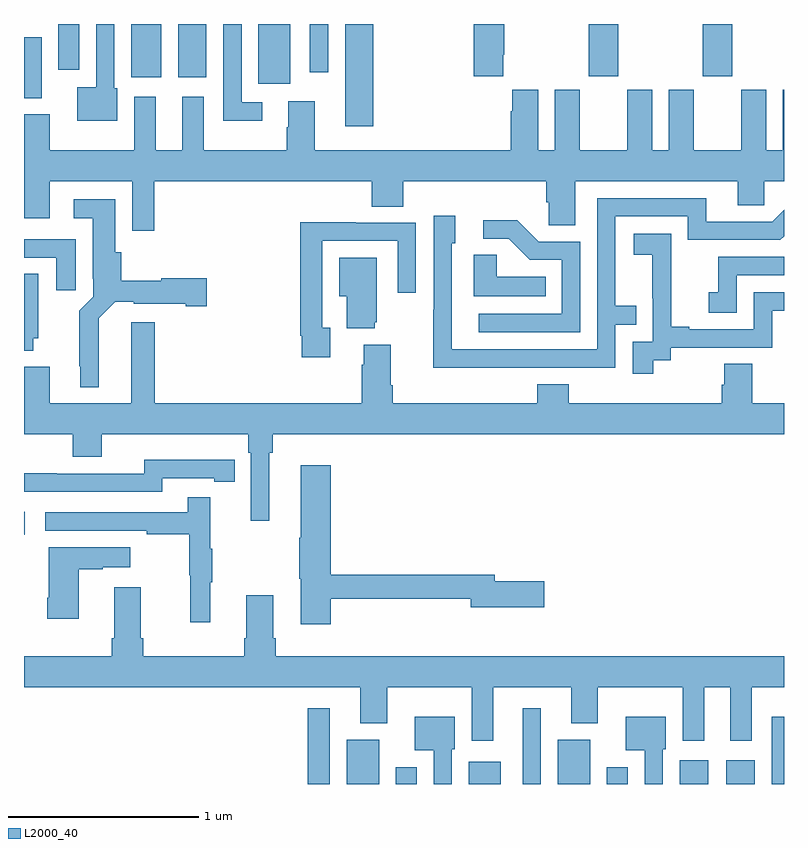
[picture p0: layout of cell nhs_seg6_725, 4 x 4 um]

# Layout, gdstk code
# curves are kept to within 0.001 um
import gdstk
lib = gdstk.Library(unit=1e-6, precision=1e-09)
def R(c, l, rs):  # rectangles x0, y0, x1, y1
    for r in rs: c.add(gdstk.rectangle(r[:2], r[2:], *l))
def P(c, l, *ps):  # polygons
    for p in ps: c.add(gdstk.Polygon(p, *l))
L2000_40 = (2000, 40)

nhs_seg6_725 = lib.new_cell('nhs_seg6_725')
R(nhs_seg6_725, L2000_40, [(158.494,941.5,158.61,941.899), (158.699,941.5,158.869,941.734), (158.957,941.5,159.067,941.587), (159.341,941.5,159.508,941.617), (159.624,941.5,159.72,941.899), (159.809,941.5,159.979,941.734), (160.067,941.5,160.177,941.587), (160.451,941.5,160.6,941.626), (160.697,941.5,160.846,941.626), (160.935,941.5,161,941.854), (157,942.813,157.003,942.934), (158.69,944.961,158.837,945.5), (157,945.11,157.093,945.43), (158.234,945.186,158.401,945.5), (157.565,945.219,157.723,945.5), (157.811,945.219,157.96,945.5), (159.973,945.225,160.128,945.5), (160.573,945.225,160.728,945.5), (158.505,945.246,158.601,945.5), (157.181,945.258,157.291,945.5)])
P(nhs_seg6_725, L2000_40, [(157.492,945.162),(157.476,945.162),(157.476,945.5),(157.38,945.5),(157.38,945.166),(157.28,945.166),(157.28,944.99),(157.492,944.99)],
  [(158.254,945.087),(158.145,945.087),(158.145,945.5),(158.049,945.5),(158.049,944.99),(158.254,944.99)],
  [(159.523,945.337),(159.528,945.337),(159.528,945.5),(159.368,945.5),(159.368,945.225),(159.523,945.225)],
  [(157.685,944.672),(158.831,944.672),(158.831,944.539),(158.996,944.539),(158.996,944.672),(159.749,944.672),(159.749,944.563),(159.762,944.563),(159.762,944.44),(159.901,944.44),(159.901,944.672),(160.757,944.672),(160.757,944.545),(160.896,944.545),(160.896,944.672),(161,944.672),(161,945.154),(160.994,945.154),(160.994,944.836),(160.906,944.836),(160.906,945.154),(160.775,945.154),(160.775,944.836),(160.525,944.836),(160.525,945.154),(160.394,945.154),(160.394,944.836),(160.306,944.836),(160.306,945.154),(160.175,945.154),(160.175,944.836),(159.925,944.836),(159.925,945.154),(159.794,945.154),(159.794,944.836),(159.706,944.836),(159.706,945.154),(159.569,945.154),(159.569,945.041),(159.563,945.041),(159.563,944.836),(158.53,944.836),(158.53,945.094),(158.39,945.094),(158.39,944.957),(158.383,944.957),(158.383,944.836),(157.945,944.836),(157.945,945.118),(157.832,945.118),(157.832,944.836),(157.693,944.836),(157.693,945.118),(157.58,945.118),(157.58,944.836),(157.135,944.836),(157.135,945.025),(157,945.025),(157,944.478),(157.135,944.478),(157.135,944.672),(157.569,944.672),(157.569,944.412),(157.685,944.412)],
  [(159.617,943.692),(160.113,943.692),(160.113,943.917),(160.223,943.917),(160.223,944.018),(160.113,944.018),(160.113,944.487),(160.494,944.487),(160.494,944.364),(160.98,944.364),(161,944.384),(161,944.522),(160.938,944.46),(160.591,944.46),(160.591,944.583),(160.017,944.583),(160.017,943.788),(159.252,943.788),(159.252,944.346),(159.271,944.346),(159.271,944.491),(159.156,944.491),(159.156,943.997),(159.154,943.997),(159.154,943.691)],
  [(157.393,943.952),(157.479,944.039),(157.578,944.039),(157.578,944.027),(157.85,944.027),(157.85,944.015),(157.963,944.015),(157.963,944.162),(157.722,944.162),(157.722,944.149),(157.511,944.149),(157.511,944.298),(157.48,944.298),(157.48,944.578),(157.263,944.578),(157.263,944.477),(157.361,944.477),(157.361,944.158),(157.365,944.158),(157.365,944.064),(157.291,943.99),(157.291,943.699),(157.295,943.699),(157.295,943.589),(157.393,943.589)],
  [(159.927,944.355),(159.708,944.355),(159.595,944.468),(159.417,944.468),(159.417,944.37),(159.551,944.37),(159.662,944.259),(159.831,944.259),(159.831,943.974),(159.393,943.974),(159.393,943.878),(159.927,943.878)],
  [(158.611,943.902),(158.571,943.902),(158.571,944.358),(158.967,944.358),(158.967,944.085),(159.063,944.085),(159.063,944.454),(158.747,944.454),(158.747,944.456),(158.455,944.456),(158.455,943.858),(158.463,943.858),(158.463,943.746),(158.611,943.746)],
  [(160.312,943.729),(160.404,943.729),(160.404,943.797),(160.938,943.797),(160.938,943.992),(161,943.992),(161,944.088),(160.842,944.088),(160.842,943.893),(160.501,943.893),(160.501,943.906),(160.406,943.906),(160.406,944.189),(160.407,944.189),(160.407,944.395),(160.209,944.395),(160.209,944.285),(160.307,944.285),(160.307,944.057),(160.308,944.057),(160.308,943.827),(160.203,943.827),(160.203,943.659),(160.312,943.659)],
  [(157.273,944.367),(157,944.367),(157,944.271),(157.169,944.271),(157.169,944.1),(157.273,944.1)],
  [(159.746,944.17),(159.489,944.17),(159.489,944.285),(159.368,944.285),(159.368,944.066),(159.746,944.066)],
  [(160.752,944.178),(161,944.178),(161,944.274),(160.654,944.274),(160.654,944.089),(160.605,944.089),(160.605,943.98),(160.752,943.98)],
  [(158.846,943.929),(158.857,943.929),(158.857,944.269),(158.66,944.269),(158.66,944.066),(158.699,944.066),(158.699,943.898),(158.846,943.898)],
  [(157.048,943.845),(157.075,943.845),(157.075,944.186),(157,944.186),(157,943.781),(157.048,943.781)],
  [(158.29,943.244),(158.309,943.244),(158.309,943.34),(161,943.34),(161,943.504),(160.833,943.504),(160.833,943.712),(160.685,943.712),(160.685,943.602),(160.673,943.602),(160.673,943.504),(159.866,943.504),(159.866,943.603),(159.701,943.603),(159.701,943.504),(158.942,943.504),(158.942,943.6),(158.929,943.6),(158.929,943.813),(158.789,943.813),(158.789,943.706),(158.777,943.706),(158.777,943.504),(157.688,943.504),(157.688,943.93),(157.565,943.93),(157.565,943.504),(157.135,943.504),(157.135,943.696),(157,943.696),(157,943.34),(157.256,943.34),(157.256,943.223),(157.408,943.223),(157.408,943.34),(158.18,943.34),(158.18,943.244),(158.193,943.244),(158.193,942.885),(158.29,942.885)],
  [(157.728,943.11),(158,943.11),(158,943.09),(158.108,943.09),(158.108,943.206),(158,943.206),(158,943.207),(157.632,943.207),(157.632,943.134),(157.172,943.134),(157.172,943.136),(157,943.136),(157,943.038),(157.728,943.038)],
  [(158.615,942.474),(159.35,942.474),(159.35,942.431),(159.739,942.431),(159.739,942.566),(159.478,942.566),(159.478,942.602),(158.615,942.602),(158.615,943.177),(158.456,943.177),(158.456,942.797),(158.449,942.797),(158.449,942.579),(158.456,942.579),(158.456,942.342),(158.615,942.342)],
  [(157.979,942.563),(157.99,942.563),(157.99,942.737),(157.979,942.737),(157.979,943.009),(157.861,943.009),(157.861,942.93),(157.113,942.93),(157.113,942.834),(157.645,942.834),(157.645,942.814),(157.869,942.814),(157.869,942.6),(157.876,942.6),(157.876,942.351),(157.979,942.351)],
  [(157.288,942.631),(157.415,942.631),(157.415,942.641),(157.558,942.641),(157.558,942.745),(157.13,942.745),(157.13,942.481),(157.123,942.481),(157.123,942.369),(157.288,942.369)],
  [(159.469,942.008),(159.881,942.008),(159.881,941.819),(160.021,941.819),(160.021,942.008),(160.466,942.008),(160.466,941.727),(160.579,941.727),(160.579,942.008),(160.718,942.008),(160.718,941.727),(160.831,941.727),(160.831,942.008),(161,942.008),(161,942.172),(158.324,942.172),(158.324,942.268),(158.311,942.268),(158.311,942.493),(158.171,942.493),(158.171,942.268),(158.159,942.268),(158.159,942.172),(157.628,942.172),(157.628,942.268),(157.615,942.268),(157.615,942.535),(157.475,942.535),(157.475,942.268),(157.463,942.268),(157.463,942.172),(157,942.172),(157,942.008),(158.771,942.008),(158.771,941.819),(158.911,941.819),(158.911,942.008),(159.356,942.008),(159.356,941.727),(159.469,941.727)],
  [(159.252,941.682),(159.268,941.682),(159.268,941.854),(159.056,941.854),(159.056,941.678),(159.156,941.678),(159.156,941.5),(159.252,941.5)],
  [(160.362,941.682),(160.378,941.682),(160.378,941.854),(160.166,941.854),(160.166,941.678),(160.266,941.678),(160.266,941.5),(160.362,941.5)])

lib.write_gds('nhs_seg6_725.gds')
